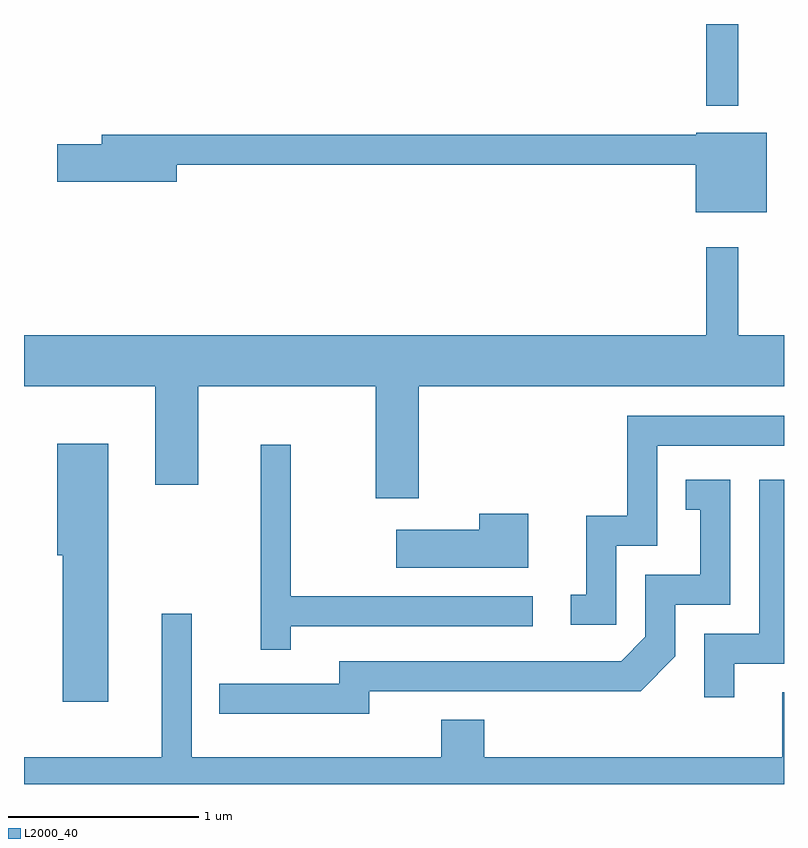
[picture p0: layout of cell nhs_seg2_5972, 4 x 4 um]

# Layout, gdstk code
import gdstk
lib = gdstk.Library(unit=1e-6, precision=1e-09)
def R(c, l, rs):  # rectangles x0, y0, x1, y1
    for r in rs: c.add(gdstk.rectangle(r[:2], r[2:], *l))
def P(c, l, *ps):  # polygons
    for p in ps: c.add(gdstk.Polygon(p, *l))
L2000_40 = (2000, 40)

nhs_seg2_5972 = lib.new_cell('nhs_seg2_5972')
R(nhs_seg2_5972, L2000_40, [(365.201,1025.373,365.369,1025.802)])
P(nhs_seg2_5972, L2000_40, [(365.519,1025.229),(365.15,1025.229),(365.15,1025.219),(362.021,1025.219),(362.021,1025.169),(361.786,1025.169),(361.786,1024.971),(362.414,1024.971),(362.414,1025.061),(365.146,1025.061),(365.146,1024.811),(365.519,1024.811)],
  [(363.689,1023.896),(365.611,1023.896),(365.611,1024.164),(365.369,1024.164),(365.369,1024.628),(365.201,1024.628),(365.201,1024.164),(361.611,1024.164),(361.611,1023.896),(362.301,1023.896),(362.301,1023.376),(362.529,1023.376),(362.529,1023.896),(363.461,1023.896),(363.461,1023.306),(363.689,1023.306)],
  [(364.729,1023.056),(364.944,1023.056),(364.944,1023.581),(365.611,1023.581),(365.611,1023.739),(364.786,1023.739),(364.786,1023.214),(364.571,1023.214),(364.571,1022.799),(364.488,1022.799),(364.488,1022.641),(364.729,1022.641)],
  [(362.054,1023.594),(361.786,1023.594),(361.786,1023.006),(361.816,1023.006),(361.816,1022.236),(362.054,1022.236)],
  [(363.014,1022.631),(364.288,1022.631),(364.288,1022.789),(363.014,1022.789),(363.014,1023.588),(362.856,1023.588),(362.856,1022.508),(363.014,1022.508)],
  [(363.429,1022.291),(364.857,1022.291),(365.039,1022.474),(365.039,1022.746),(365.329,1022.746),(365.329,1023.404),(365.093,1023.404),(365.093,1023.246),(365.171,1023.246),(365.171,1022.904),(364.881,1022.904),(364.881,1022.577),(364.754,1022.449),(363.271,1022.449),(363.271,1022.329),(362.638,1022.329),(362.638,1022.171),(363.429,1022.171)],
  [(365.349,1022.436),(365.611,1022.436),(365.611,1023.404),(365.481,1023.404),(365.481,1022.594),(365.191,1022.594),(365.191,1022.258),(365.349,1022.258)],
  [(364.264,1023.224),(364.006,1023.224),(364.006,1023.139),(363.571,1023.139),(363.571,1022.941),(364.264,1022.941)],
  [(365.611,1022.284),(365.601,1022.284),(365.601,1021.944),(364.034,1021.944),(364.034,1022.139),(363.806,1022.139),(363.806,1021.944),(362.494,1021.944),(362.494,1022.698),(362.336,1022.698),(362.336,1021.944),(361.611,1021.944),(361.611,1021.802),(365.611,1021.802)])

lib.write_gds('nhs_seg2_5972.gds')
